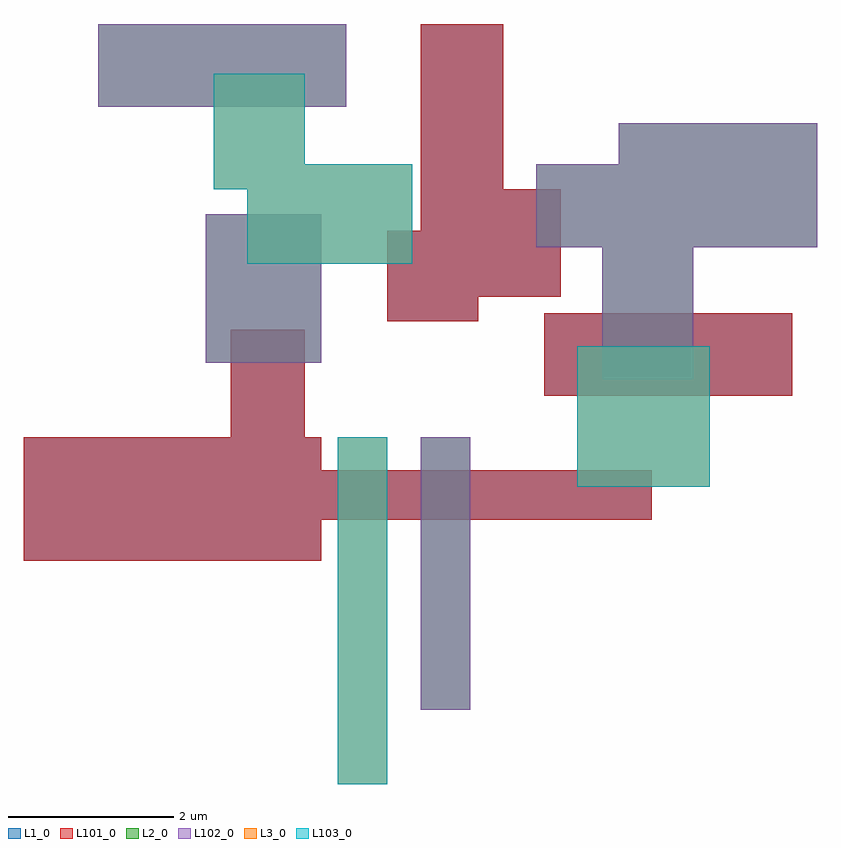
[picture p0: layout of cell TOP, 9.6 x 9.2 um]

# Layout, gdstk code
import gdstk
lib = gdstk.Library(unit=1e-6, precision=1e-09)
def R(c, l, rs):  # rectangles x0, y0, x1, y1
    for r in rs: c.add(gdstk.rectangle(r[:2], r[2:], *l))
L1_0 = (1, 0)
L2_0 = (2, 0)
L3_0 = (3, 0)
L101_0 = (101, 0)
L102_0 = (102, 0)
L103_0 = (103, 0)

c_c1 = lib.new_cell('C1')
R(c_c1, L1_0, [(-2.7,-3.3,-1.8,-0.9), (-2.1,-3.2,2.4,-2.6), (-0.8,-0.8,0.3,0.3), (-0.1,-0.5,1.3,0.8)])
R(c_c1, L2_0, [(1.8,-1.5,2.9,0.6), (-3,-1.3,-1.6,0.5), (1,0.1,2.5,1.1)])
R(c_c1, L3_0, [(1.5,-2.8,3.1,-1.1), (-2.5,-0.1,-0.5,1.1), (-2.9,0.8,-1.8,2.2)])

top = lib.new_cell('TOP')
R(top, L1_0, [(-5.5,-3.4,-1.9,-1.9), (0.8,-1.4,3.8,-0.4), (-0.7,0.1,0.3,3.1)])
R(top, L2_0, [(-0.7,-5.2,-0.1,-1.9), (1.7,0.4,4.1,1.9), (-4.6,2.1,-1.6,3.1)])
R(top, L3_0, [(-1.7,-6.1,-1.1,-1.9)])
R(top, L101_0, [(-5.5,-3.4,-1.9,-1.9), (-3,-3,-2.1,-0.6), (-2.4,-2.9,2.1,-2.3), (0.8,-1.4,3.8,-0.4), (-1.1,-0.5,0,0.6), (-0.4,-0.2,1,1.1), (-0.7,0.1,0.3,3.1)])
R(top, L102_0, [(-0.7,-5.2,-0.1,-1.9), (1.5,-1.2,2.6,0.9), (-3.3,-1,-1.9,0.8), (0.7,0.4,2.2,1.4), (1.7,0.4,4.1,1.9), (-4.6,2.1,-1.6,3.1)])
R(top, L103_0, [(-1.7,-6.1,-1.1,-1.9), (1.2,-2.5,2.8,-0.8), (-2.8,0.2,-0.8,1.4), (-3.2,1.1,-2.1,2.5)])
top.add(gdstk.Reference(c_c1, (-0.3,0.3)))

lib.write_gds('TOP.gds')
